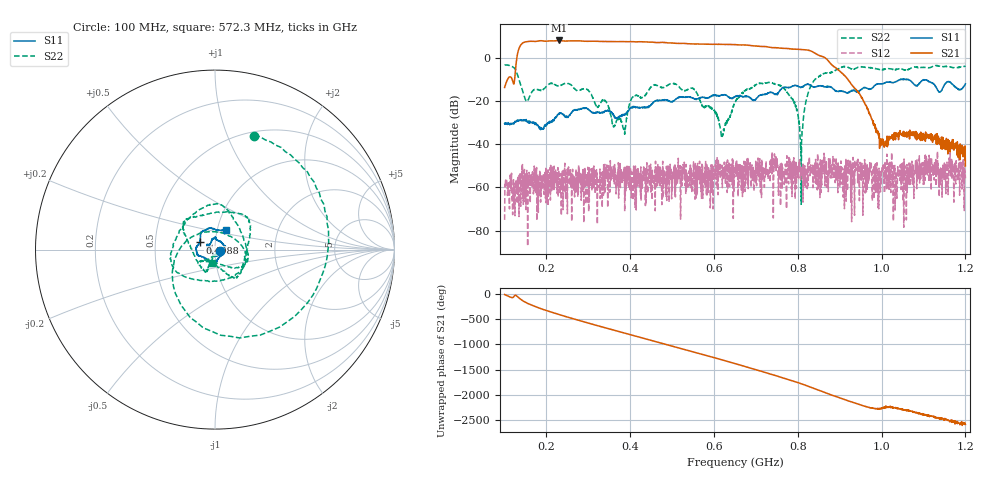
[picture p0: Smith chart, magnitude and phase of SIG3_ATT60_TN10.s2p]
# Hz S DB R 50
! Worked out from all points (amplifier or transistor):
!   1601 points, 100 MHz to 1.2 GHz, reference 50 ohm
!   highest |S21| = 7.9 dB at 229.2 MHz (marker M1)
!   |S21| within 3 dB of that: 135.9 MHz to 728.6 MHz (592.8 MHz wide, 137 % of centre)
!   unconditionally stable (mu >= 1): start of sweep to end of sweep
!   at 282.9 MHz: K = 392.44, MAG = 7.8 dB, |S12| = -65.9 dB
!   at 650 MHz: K = 80.39, MAG = 6.0 dB, |S12| = -50.3 dB
!   at 1.2 GHz: K = 54465.76, MAG = -47.5 dB, |S12| = -55.7 dB
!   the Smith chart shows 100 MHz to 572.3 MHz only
!   S11 on the Smith chart (normalised r, x): 100 MHz: 1.06, -0.02; 498.8 MHz: 0.84, +0.07; 572.3 MHz: 1.10, +0.24
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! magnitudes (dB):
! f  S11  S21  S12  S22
! 100 MHz  -30.5  -13.8  -75.0  -3.5
! 108.2 MHz  -30.0  -9.6  -61.0  -3.5
! 121.3 MHz  -30.3  -12.1  -56.4  -4.5
! 142.6 MHz  -29.0  6.7  -49.4  -15.2
! 229.2 MHz  -25.9  7.9  -52.6  -13.1
! 283.6 MHz  -23.9  7.6  -55.6  -14.6
! 384.6 MHz  -26.3  7.4  -51.9  -33.1
! 405.9 MHz  -23.3  7.3  -60.0  -18.3
! 467.1 MHz  -19.9  6.9  -57.1  -13.1
! 498.8 MHz  -20.5  6.7  -65.2  -11.9
! 572.3 MHz  -18.2  6.2  -49.4  -22.6
! 619.8 MHz  -17.4  6.0  -60.1  -36.4
! 650 MHz  -18.1  5.9  -50.3  -20.7
! 759.3 MHz  -14.8  4.4  -58.9  -13.2
! 793 MHz  -12.9  3.9  -48.3  -21.8
! 807.4 MHz  -13.8  3.7  -52.1  -41.0
! 833.6 MHz  -13.3  2.8  -52.9  -12.1
! 915.4 MHz  -16.3  -9.1  -66.3  -4.3
! 1.001 GHz  -12.2  -39.3  -52.6  -5.5
! 1.017 GHz  -11.3  -37.6  -48.3  -5.1
! 1.13 GHz  -13.6  -35.4  -59.3  -3.6
! 1.2 GHz  -12.1  -50.0  -55.7  -4.0
